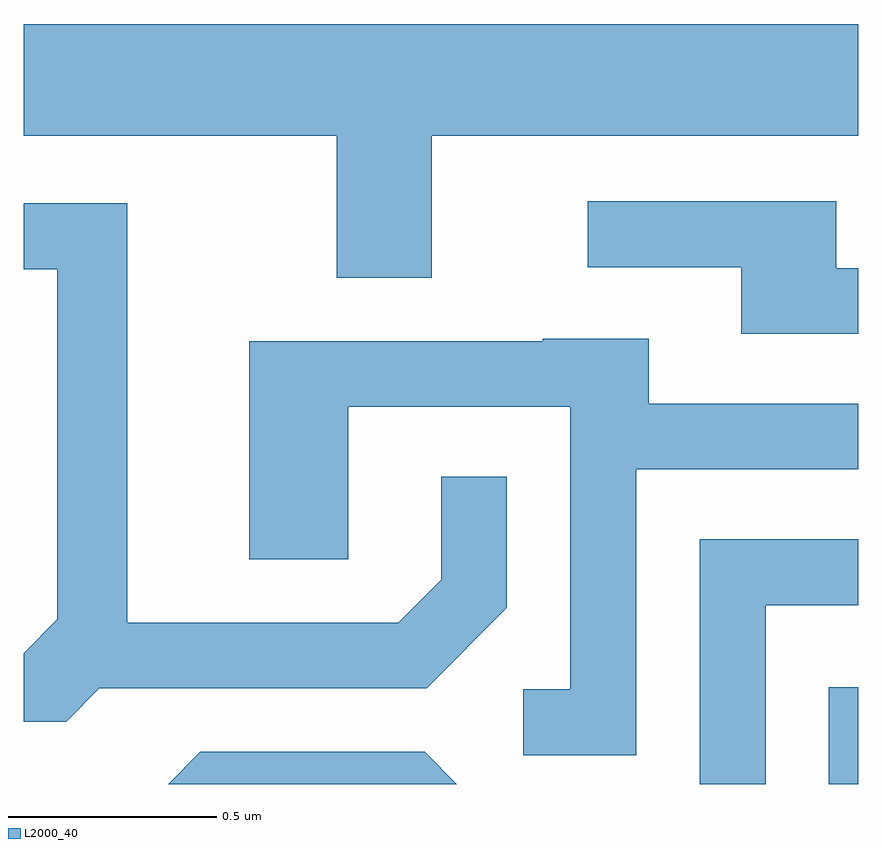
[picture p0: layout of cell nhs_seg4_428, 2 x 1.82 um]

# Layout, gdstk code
import gdstk
lib = gdstk.Library(unit=1e-6, precision=1e-09)
def R(c, l, rs):  # rectangles x0, y0, x1, y1
    for r in rs: c.add(gdstk.rectangle(r[:2], r[2:], *l))
def P(c, l, *ps):  # polygons
    for p in ps: c.add(gdstk.Polygon(p, *l))
L2000_40 = (2000, 40)

nhs_seg4_428 = lib.new_cell('nhs_seg4_428')
R(nhs_seg4_428, L2000_40, [(190.541,1270.982,190.611,1271.214)])
P(nhs_seg4_428, L2000_40, [(189.589,1272.536),(190.611,1272.536),(190.611,1272.804),(188.611,1272.804),(188.611,1272.536),(189.361,1272.536),(189.361,1272.196),(189.589,1272.196)],
  [(190.611,1272.219),(190.559,1272.219),(190.559,1272.379),(189.963,1272.379),(189.963,1272.221),(190.331,1272.221),(190.331,1272.061),(190.611,1272.061)],
  [(188.792,1271.211),(189.577,1271.211),(189.769,1271.404),(189.769,1271.718),(189.611,1271.718),(189.611,1271.472),(189.509,1271.369),(188.859,1271.369),(188.859,1272.374),(188.611,1272.374),(188.611,1272.216),(188.691,1272.216),(188.691,1271.377),(188.611,1271.296),(188.611,1271.131),(188.712,1271.131)],
  [(190.079,1271.736),(190.611,1271.736),(190.611,1271.894),(190.109,1271.894),(190.109,1272.049),(189.855,1272.049),(189.855,1272.044),(189.151,1272.044),(189.151,1271.521),(189.389,1271.521),(189.389,1271.886),(189.921,1271.886),(189.921,1271.209),(189.808,1271.209),(189.808,1271.051),(190.079,1271.051)],
  [(190.389,1271.411),(190.611,1271.411),(190.611,1271.569),(190.231,1271.569),(190.231,1270.982),(190.389,1270.982)],
  [(189.572,1271.059),(189.034,1271.059),(188.957,1270.982),(189.649,1270.982)])

lib.write_gds('nhs_seg4_428.gds')
